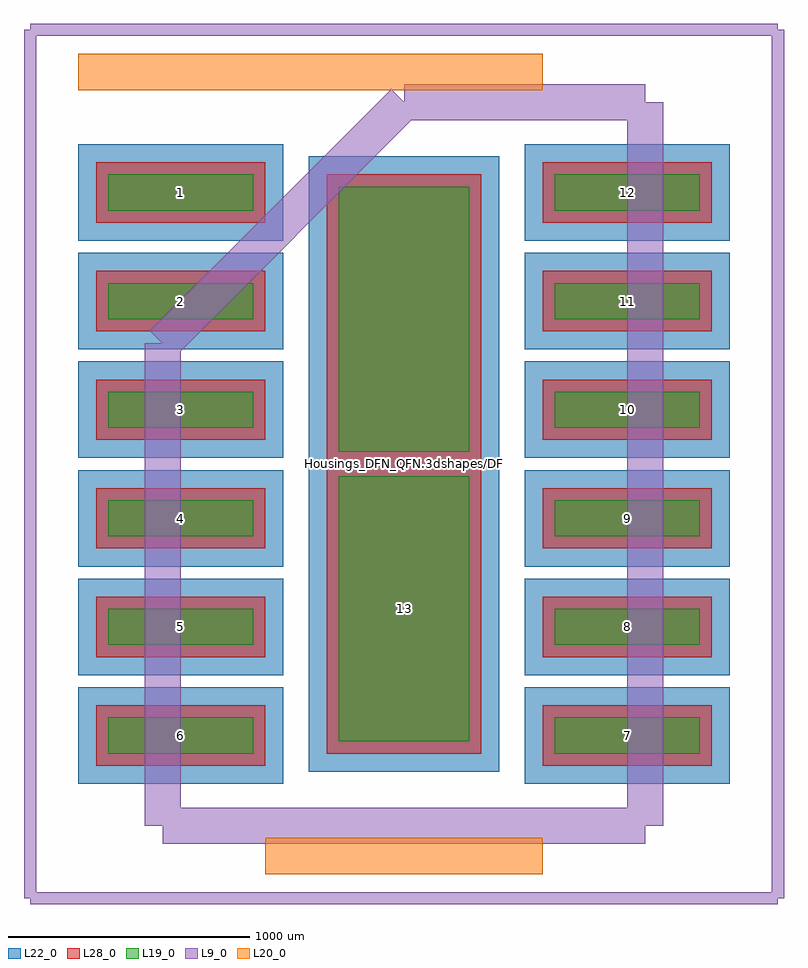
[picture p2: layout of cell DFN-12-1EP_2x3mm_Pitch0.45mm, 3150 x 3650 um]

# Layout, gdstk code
import gdstk
lib = gdstk.Library(unit=1e-6, precision=1e-09)
def R(c, l, rs):  # rectangles x0, y0, x1, y1
    for r in rs: c.add(gdstk.rectangle(r[:2], r[2:], *l))
def A(c, l, x, y, w, h, nx, ny, dx, dy):  # array of equal rectangles
    R(c, l, [(x+i*dx, y+j*dy, x+i*dx+w, y+j*dy+h) for i in range(nx) for j in range(ny)])
L9_0 = (9, 0)
L19_0 = (19, 0)
L20_0 = (20, 0)
L22_0 = (22, 0)
L28_0 = (28, 0)

dfn_12_1ep_2x3mm_pitch0_ = lib.new_cell('DFN-12-1EP_2x3mm_Pitch0.45mm')
A(dfn_12_1ep_2x3mm_pitch0_, L19_0, -1225, -1200, 600, 150, 1, 6, 0, 450)
A(dfn_12_1ep_2x3mm_pitch0_, L19_0, 625, -1200, 600, 150, 1, 6, 0, 450)
R(dfn_12_1ep_2x3mm_pitch0_, L19_0, [(-270,-1150,270,-50), (-270,50,270,1150)])
A(dfn_12_1ep_2x3mm_pitch0_, L22_0, -1350, -1325, 850, 400, 1, 6, 0, 450)
A(dfn_12_1ep_2x3mm_pitch0_, L22_0, 500, -1325, 850, 400, 1, 6, 0, 450)
R(dfn_12_1ep_2x3mm_pitch0_, L22_0, [(-395,-1275,395,75), (-395,-75,395,1275)])
A(dfn_12_1ep_2x3mm_pitch0_, L28_0, -1275, -1250, 700, 250, 1, 6, 0, 450)
A(dfn_12_1ep_2x3mm_pitch0_, L28_0, 575, -1250, 700, 250, 1, 6, 0, 450)
R(dfn_12_1ep_2x3mm_pitch0_, L28_0, [(-320,-1200,320,0), (-320,0,320,1200)])
dfn_12_1ep_2x3mm_pitch0_.add(gdstk.FlexPath([(-1350,1625),(575,1625)], 149.998, ends="flush", simple_path=True, layer=20, datatype=0))  # L20_0
dfn_12_1ep_2x3mm_pitch0_.add(gdstk.FlexPath([(-575,-1625),(575,-1625)], 149.998, ends="flush", simple_path=True, layer=20, datatype=0))  # L20_0
dfn_12_1ep_2x3mm_pitch0_.add(gdstk.FlexPath([(-1550,-1800),(1550,-1800)], 50, ends="flush", simple_path=True, layer=9, datatype=0))  # L9_0
dfn_12_1ep_2x3mm_pitch0_.add(gdstk.FlexPath([(-1550,1800),(1550,1800)], 50, ends="flush", simple_path=True, layer=9, datatype=0))  # L9_0
dfn_12_1ep_2x3mm_pitch0_.add(gdstk.FlexPath([(1550,1800),(1550,-1800)], 50, ends="flush", simple_path=True, layer=9, datatype=0))  # L9_0
dfn_12_1ep_2x3mm_pitch0_.add(gdstk.FlexPath([(-1550,1800),(-1550,-1800)], 50, ends="flush", simple_path=True, layer=9, datatype=0))  # L9_0
dfn_12_1ep_2x3mm_pitch0_.add(gdstk.FlexPath([(-1000,500),(0,1500)], 149.998, ends="flush", simple_path=True, layer=9, datatype=0))  # L9_0
dfn_12_1ep_2x3mm_pitch0_.add(gdstk.FlexPath([(-1000,-1500),(-1000,500)], 149.998, ends="flush", simple_path=True, layer=9, datatype=0))  # L9_0
dfn_12_1ep_2x3mm_pitch0_.add(gdstk.FlexPath([(1000,-1500),(-1000,-1500)], 149.998, ends="flush", simple_path=True, layer=9, datatype=0))  # L9_0
dfn_12_1ep_2x3mm_pitch0_.add(gdstk.FlexPath([(1000,1500),(1000,-1500)], 149.998, ends="flush", simple_path=True, layer=9, datatype=0))  # L9_0
dfn_12_1ep_2x3mm_pitch0_.add(gdstk.FlexPath([(0,1500),(1000,1500)], 149.998, ends="flush", simple_path=True, layer=9, datatype=0))  # L9_0
dfn_12_1ep_2x3mm_pitch0_.add(gdstk.Label('Housings_DFN_QFN.3dshapes/DFN-12-1EP_2x3mm_Pitch0.45mm.wrl', (0,0), layer=12, texttype=0))
dfn_12_1ep_2x3mm_pitch0_.add(gdstk.Label('13', (0,-600), layer=28, texttype=0))
dfn_12_1ep_2x3mm_pitch0_.add(gdstk.Label('12', (925,1125), layer=28, texttype=0))
dfn_12_1ep_2x3mm_pitch0_.add(gdstk.Label('11', (925,675), layer=28, texttype=0))
dfn_12_1ep_2x3mm_pitch0_.add(gdstk.Label('10', (925,225), layer=28, texttype=0))
dfn_12_1ep_2x3mm_pitch0_.add(gdstk.Label('9', (925,-225), layer=28, texttype=0))
dfn_12_1ep_2x3mm_pitch0_.add(gdstk.Label('8', (925,-675), layer=28, texttype=0))
dfn_12_1ep_2x3mm_pitch0_.add(gdstk.Label('7', (925,-1125), layer=28, texttype=0))
dfn_12_1ep_2x3mm_pitch0_.add(gdstk.Label('6', (-925,-1125), layer=28, texttype=0))
dfn_12_1ep_2x3mm_pitch0_.add(gdstk.Label('5', (-925,-675), layer=28, texttype=0))
dfn_12_1ep_2x3mm_pitch0_.add(gdstk.Label('4', (-925,-225), layer=28, texttype=0))
dfn_12_1ep_2x3mm_pitch0_.add(gdstk.Label('3', (-925,225), layer=28, texttype=0))
dfn_12_1ep_2x3mm_pitch0_.add(gdstk.Label('2', (-925,675), layer=28, texttype=0))
dfn_12_1ep_2x3mm_pitch0_.add(gdstk.Label('1', (-925,1125), layer=28, texttype=0))
dfn_12_1ep_2x3mm_pitch0_.add(gdstk.Label('type', (0,-2550), layer=9, texttype=0))
dfn_12_1ep_2x3mm_pitch0_.add(gdstk.Label('devicename', (0,2550), layer=9, texttype=0))

lib.write_gds('DFN-12-1EP_2x3mm_Pitch0.45mm.gds')
